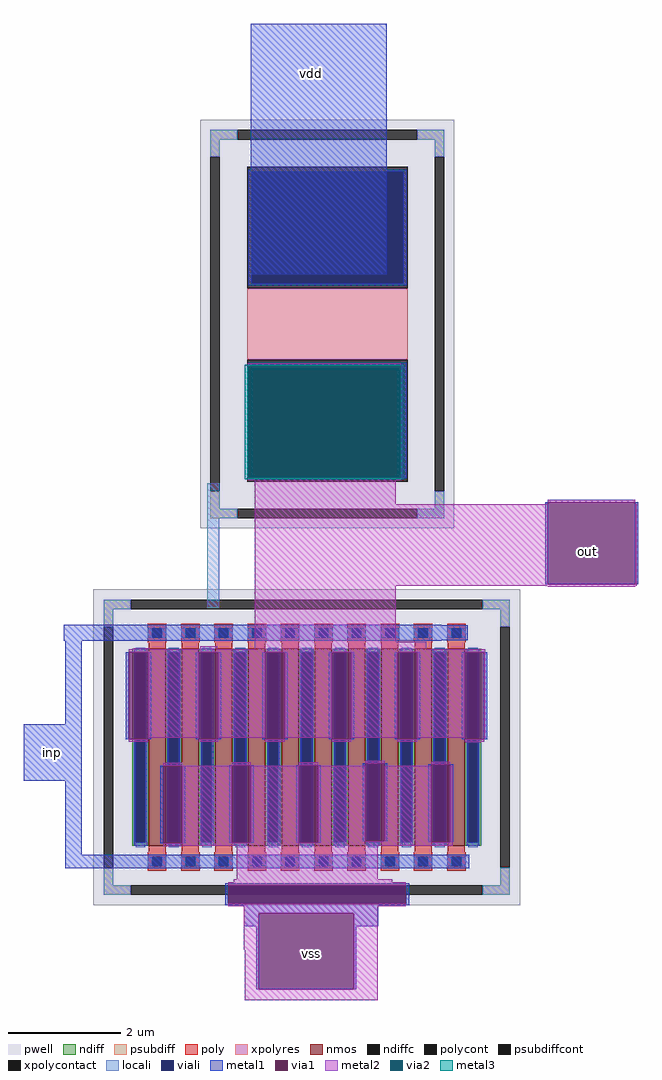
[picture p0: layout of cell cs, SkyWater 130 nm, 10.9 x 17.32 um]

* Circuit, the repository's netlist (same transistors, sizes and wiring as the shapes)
** sch_path: /home/vks/design/xschem/cs.sch
.subckt cs inp out vdd vss
*.PININFO inp:I out:O vdd:B vss:B
XM1 out inp vss vss sky130_fd_pr__nfet_01v8 L=0.30 W=35 nf=10 m=1
XR2 out vdd vss sky130_fd_pr__res_xhigh_po_2p85 L=1.43 mult=1 m=1
.ends
.end

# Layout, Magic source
magic
tech sky130A
magscale 1 2
<< pwell >>
rect 984 1420 1128 1482
<< locali >>
rect 350 1602 394 2044
<< viali >>
rect 426 552 1056 618
<< metal1 >>
rect 506 2786 988 3674
rect 506 2072 516 2444
rect 1022 2072 1032 2444
rect 1550 1686 1560 1976
rect 1870 1686 1880 1976
rect -158 1540 1182 1542
rect -158 1486 1276 1540
rect -158 1485 1182 1486
rect -153 1188 -95 1485
rect -300 988 -95 1188
rect 62 1136 72 1444
rect 142 1136 152 1444
rect 310 1136 320 1444
rect 390 1136 400 1444
rect 546 1136 556 1444
rect 626 1136 636 1444
rect 782 1136 792 1444
rect 862 1136 872 1444
rect 1016 1136 1026 1444
rect 1096 1136 1106 1444
rect 1254 1136 1264 1444
rect 1334 1136 1344 1444
rect -153 770 -95 988
rect -154 726 -94 770
rect 184 766 194 1042
rect 262 766 272 1042
rect 428 768 438 1044
rect 506 768 516 1044
rect 666 768 676 1044
rect 744 768 754 1044
rect 902 774 912 1050
rect 980 774 990 1050
rect 1136 770 1146 1046
rect 1214 770 1224 1046
rect -154 678 1280 726
rect 414 618 1068 624
rect 414 552 426 618
rect 1056 552 1068 618
rect 414 546 1068 552
rect 480 518 958 546
rect 480 472 534 518
rect 524 248 534 472
rect 870 472 958 518
rect 870 248 880 472
<< via1 >>
rect 516 2072 1022 2444
rect 1560 1686 1870 1976
rect 72 1136 142 1444
rect 320 1136 390 1444
rect 556 1136 626 1444
rect 792 1136 862 1444
rect 1026 1136 1096 1444
rect 1264 1136 1334 1444
rect 194 766 262 1042
rect 438 768 506 1044
rect 676 768 744 1044
rect 912 774 980 1050
rect 1146 770 1214 1046
rect 426 552 1056 618
rect 534 248 870 518
<< metal2 >>
rect 494 2460 1038 2470
rect 494 2054 1038 2064
rect 520 1970 1020 2054
rect 1560 1976 1870 1986
rect 520 1686 1560 1970
rect 1870 1686 1876 1970
rect 520 1680 1876 1686
rect 520 1482 1020 1680
rect 1560 1676 1870 1680
rect 88 1454 146 1458
rect 326 1454 386 1466
rect 520 1454 1128 1482
rect 72 1444 1338 1454
rect 142 1140 320 1444
rect 72 1126 142 1136
rect 390 1140 556 1444
rect 320 1126 390 1136
rect 626 1140 792 1444
rect 556 1126 626 1136
rect 862 1140 1026 1444
rect 792 1126 862 1136
rect 1096 1140 1264 1444
rect 1026 1126 1096 1136
rect 1334 1140 1338 1444
rect 1264 1126 1334 1136
rect 1264 1124 1322 1126
rect 194 1042 262 1052
rect 438 1044 506 1054
rect 262 768 438 1042
rect 676 1044 744 1054
rect 506 768 676 1042
rect 912 1050 980 1060
rect 744 774 912 1042
rect 1146 1046 1214 1056
rect 980 774 1146 1042
rect 744 770 1146 774
rect 1214 770 1222 1042
rect 744 768 1222 770
rect 262 766 1222 768
rect 194 758 1222 766
rect 194 756 262 758
rect 456 638 956 758
rect 444 628 1008 638
rect 426 618 1056 628
rect 426 542 1056 552
rect 480 518 956 542
rect 480 388 534 518
rect 484 248 534 388
rect 870 248 956 518
rect 484 210 956 248
<< via2 >>
rect 494 2444 1038 2460
rect 494 2072 516 2444
rect 516 2072 1022 2444
rect 1022 2072 1038 2444
rect 494 2064 1038 2072
<< metal3 >>
rect 484 2460 1048 2465
rect 484 2064 494 2460
rect 1038 2064 1048 2460
rect 484 2059 1048 2064
use sky130_fd_pr__nfet_01v8_WUV6BX  XM1
transform 1 0 704 0 1 1107
box -757 -560 757 560
use sky130_fd_pr__res_xhigh_po_2p85_53STJD  XR2
transform -1 0 777 0 1 2609
box -451 -725 451 725
<< labels >>
flabel via1 1602 1702 1802 1902 0 FreeSans 256 0 0 0 out
port 0 nsew
flabel metal1 -300 988 -100 1188 0 FreeSans 256 0 0 0 inp
port 1 nsew
flabel metal1 622 3400 822 3600 0 FreeSans 256 180 0 0 vdd
port 2 nsew
flabel via1 620 274 820 474 0 FreeSans 256 0 0 0 vss
port 3 nsew
<< end >>

# cell sky130_fd_pr__nfet_01v8_WUV6BX: kit device sky130_fd_pr__nfet_01v8, w 3.5 l 0.3 m 1 nf 10 diffcov 100 polycov 100 guard 1 glc 1 grc 1 gtc 1 gbc 1 tbcov 100 rlcov 100 topc 1 botc 1 poverlap 0 doverlap 1 lmin 0.15 wmin 0.42 compatible {sky130_fd_pr__nfet_01v8 sky130_fd_pr__nfet_01v8_lvt sky130_fd_bs_flash__special_sonosfet_star sky130_fd_pr__nfet_g5v0d10v5 sky130_fd_pr__nfet_05v0_nvt sky130_fd_pr__nfet_03v3_nvt} full_metal 1 viasrc 100 viadrn 100 viagate 100 viagb 0 viagr 0 viagl 0 viagt 0

# cell sky130_fd_pr__res_xhigh_po_2p85_53STJD: kit device sky130_fd_pr__res_xhigh_po_2p85, w 2.850 l 1.43 m 1 nx 1 wmin 2.850 lmin 0.50 rho 2000 val 1.135k dummy 0 dw 0.0 term 188.2 sterm 0.0 caplen 0 wmax 2.850 guard 1 glc 1 grc 1 gtc 1 gbc 1 compatible {sky130_fd_pr__res_xhigh_po_0p35 sky130_fd_pr__res_xhigh_po_0p69 sky130_fd_pr__res_xhigh_po_1p41 sky130_fd_pr__res_xhigh_po_2p85 sky130_fd_pr__res_xhigh_po_5p73} snake 0 full_metal 1 n_guard 0 hv_guard 0 vias 1 viagb 0 viagt 0 viagl 0 viagr 0
